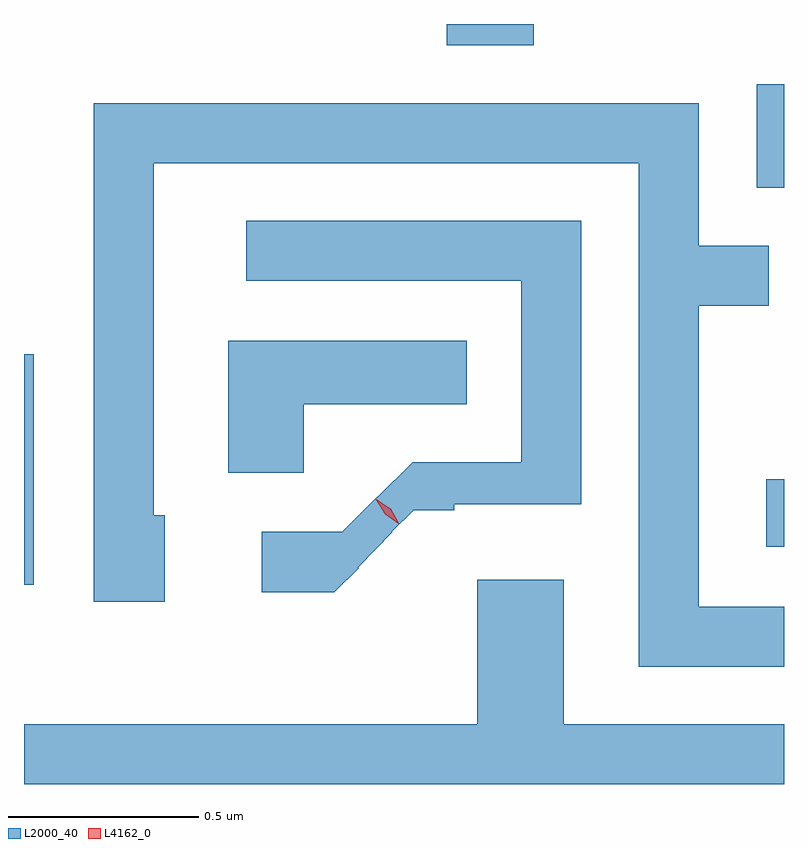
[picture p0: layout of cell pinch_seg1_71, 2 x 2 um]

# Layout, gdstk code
import gdstk
lib = gdstk.Library(unit=1e-6, precision=1e-09)
def R(c, l, rs):  # rectangles x0, y0, x1, y1
    for r in rs: c.add(gdstk.rectangle(r[:2], r[2:], *l))
def P(c, l, *ps):  # polygons
    for p in ps: c.add(gdstk.Polygon(p, *l))
L2000_40 = (2000, 40)
L4162_0 = (4162, 0)

pinch_seg1_71 = lib.new_cell('pinch_seg1_71')
R(pinch_seg1_71, L2000_40, [(1385.808,904.651,1385.834,905.258), (1387.761,904.751,1387.808,904.929), (1387.736,905.696,1387.808,905.968), (1386.921,906.071,1387.149,906.127)])
P(pinch_seg1_71, L2000_40, [(1387.808,904.594),(1387.584,904.594),(1387.584,905.386),(1387.768,905.386),(1387.768,905.544),(1387.584,905.544),(1387.584,905.919),(1385.991,905.919),(1385.991,904.606),(1386.179,904.606),(1386.179,904.834),(1386.149,904.834),(1386.149,905.761),(1387.426,905.761),(1387.426,904.436),(1387.808,904.436)],
  [(1386.689,904.695),(1386.687,904.698),(1386.777,904.789),(1386.775,904.79),(1386.833,904.848),(1386.94,904.848),(1386.94,904.863),(1387.274,904.863),(1387.274,905.609),(1386.393,905.609),(1386.393,905.451),(1387.116,905.451),(1387.116,904.974),(1386.831,904.974),(1386.738,904.882),(1386.737,904.883),(1386.646,904.791),(1386.433,904.791),(1386.433,904.631),(1386.625,904.631)],
  [(1386.544,905.126),(1386.973,905.126),(1386.973,905.294),(1386.346,905.294),(1386.346,904.946),(1386.544,904.946)],
  [(1387.808,904.284),(1387.229,904.284),(1387.229,904.664),(1387.001,904.664),(1387.001,904.284),(1385.808,904.284),(1385.808,904.127),(1387.808,904.127)])
P(pinch_seg1_71, L4162_0, [(1386.792,904.815),(1386.758,904.837),(1386.738,904.872),(1386.738,904.873),(1386.739,904.873),(1386.773,904.851),(1386.793,904.816),(1386.793,904.815)],
  [(1386.796,904.811),(1386.758,904.837),(1386.734,904.877),(1386.734,904.878),(1386.734,904.878),(1386.772,904.851),(1386.796,904.811),(1386.796,904.811)])

lib.write_gds('pinch_seg1_71.gds')
